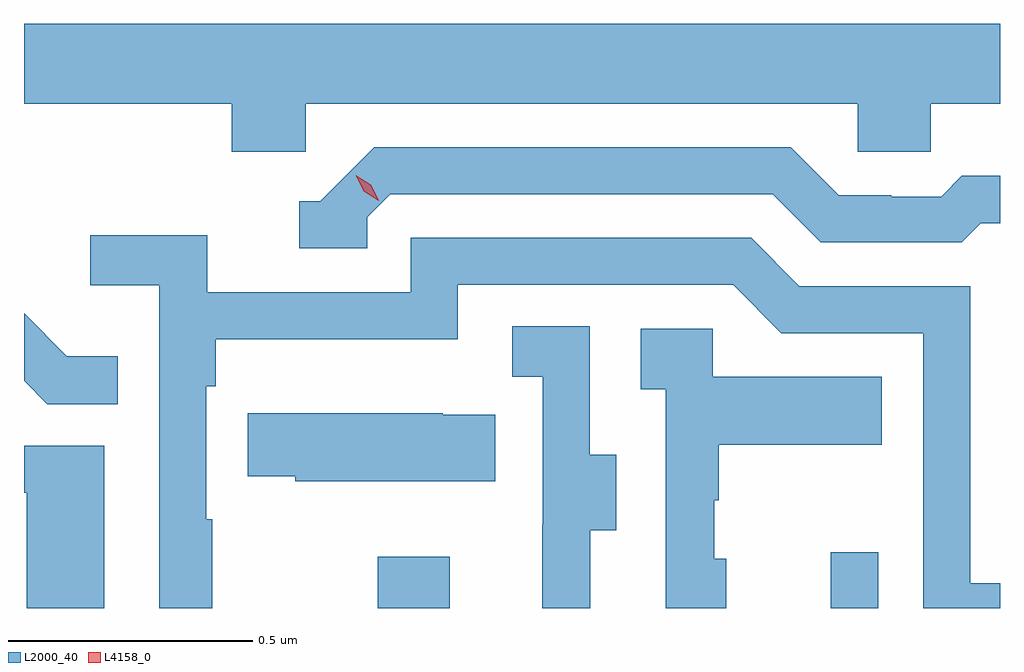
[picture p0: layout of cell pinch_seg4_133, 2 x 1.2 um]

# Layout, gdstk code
import gdstk
lib = gdstk.Library(unit=1e-6, precision=1e-09)
def R(c, l, rs):  # rectangles x0, y0, x1, y1
    for r in rs: c.add(gdstk.rectangle(r[:2], r[2:], *l))
def P(c, l, *ps):  # polygons
    for p in ps: c.add(gdstk.Polygon(p, *l))
L2000_40 = (2000, 40)
L4158_0 = (4158, 0)

pinch_seg4_133 = lib.new_cell('pinch_seg4_133')
R(pinch_seg4_133, L2000_40, [(1023.856,793.122,1024.003,793.228), (1024.784,793.122,1024.881,793.237)])
P(pinch_seg4_133, L2000_40, [(1023.708,794.156),(1024.839,794.156),(1024.839,794.058),(1024.989,794.058),(1024.989,794.156),(1025.131,794.156),(1025.131,794.32),(1023.131,794.32),(1023.131,794.156),(1023.557,794.156),(1023.557,794.058),(1023.708,794.058)],
  [(1023.834,793.923),(1023.882,793.971),(1024.665,793.971),(1024.764,793.872),(1025.053,793.872),(1025.092,793.911),(1025.131,793.911),(1025.131,794.008),(1025.053,794.008),(1025.011,793.965),(1024.908,793.965),(1024.908,793.968),(1024.801,793.968),(1024.702,794.067),(1023.849,794.067),(1023.738,793.956),(1023.695,793.956),(1023.695,793.86),(1023.834,793.86)],
  [(1023.517,793.304),(1023.504,793.304),(1023.504,793.577),(1023.524,793.577),(1023.524,793.673),(1024.02,793.673),(1024.02,793.785),(1024.584,793.785),(1024.683,793.686),(1024.974,793.686),(1024.974,793.122),(1025.131,793.122),(1025.131,793.173),(1025.07,793.173),(1025.07,793.782),(1024.72,793.782),(1024.621,793.881),(1023.924,793.881),(1023.924,793.77),(1023.506,793.77),(1023.506,793.886),(1023.267,793.886),(1023.267,793.784),(1023.408,793.784),(1023.408,793.122),(1023.517,793.122)],
  [(1023.323,793.639),(1023.219,793.639),(1023.131,793.727),(1023.131,793.588),(1023.179,793.54),(1023.323,793.54)],
  [(1024.291,793.282),(1024.345,793.282),(1024.345,793.437),(1024.29,793.437),(1024.29,793.7),(1024.131,793.7),(1024.131,793.597),(1024.194,793.597),(1024.194,793.293),(1024.193,793.293),(1024.193,793.122),(1024.291,793.122)],
  [(1024.57,793.224),(1024.545,793.224),(1024.545,793.343),(1024.555,793.343),(1024.555,793.457),(1024.889,793.457),(1024.889,793.597),(1024.542,793.597),(1024.542,793.695),(1024.395,793.695),(1024.395,793.571),(1024.446,793.571),(1024.446,793.122),(1024.57,793.122)],
  [(1024.097,793.519),(1023.989,793.519),(1023.989,793.522),(1023.589,793.522),(1023.589,793.393),(1023.687,793.393),(1023.687,793.382),(1024.097,793.382)],
  [(1023.295,793.455),(1023.131,793.455),(1023.131,793.359),(1023.137,793.359),(1023.137,793.122),(1023.295,793.122)])
P(pinch_seg4_133, L4158_0, [(1023.858,793.957),(1023.827,793.977),(1023.811,794.009),(1023.811,794.009),(1023.811,794.009),(1023.842,793.99),(1023.858,793.958),(1023.858,793.957)])

lib.write_gds('pinch_seg4_133.gds')
